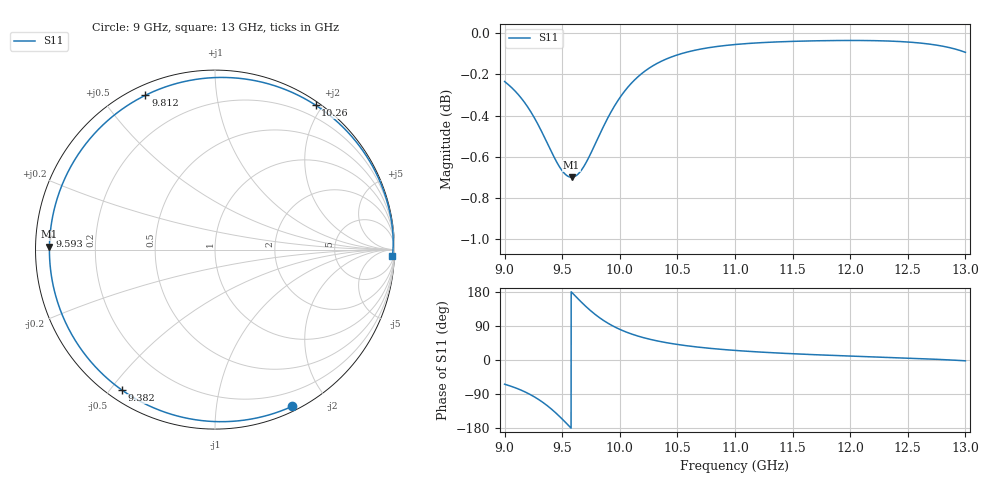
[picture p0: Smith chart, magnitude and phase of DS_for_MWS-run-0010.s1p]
! TOUCHSTONE file generated by CST DESIGN STUDIO
! Date and time: Tue Feb  4 16:23:00 2025
! Project name: C:\Work\MatlabApps\UnitCellOptimizationMatlab\CST\unitcell.cst
! Tree item: Tasks\Sweep1\SPara1\S-Parameters
! Header version: 2024
! Port assignment regex: !\s*Touchstone port\s*([0-9]+)\s*=\s*(CST MWS port|CST DES external port|CST DES block port)\s*(.+)\s* \(\"(.*)\"\)(\s*mode\s*([0-9]+))?.*
! Touchstone port assignment:
! Touchstone port 1 = CST DES external port 1 ("")
# GHz S MA R 50
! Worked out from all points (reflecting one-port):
!   4001 points, 9 GHz to 13 GHz, reference 50 ohm
!   lowest |S11| = -0.7 dB at 9.581 GHz (marker M1), VSWR 24.83, Z = 2.01 + j0.424 ohm
!   phase of S11 starts at -64 deg and turns -298 deg over the sweep
!   S11 on the Smith chart (normalised r, x): 9 GHz: 0.05, -1.60; 9.382 GHz: 0.04, -0.54; 9.593 GHz: 0.04, +0.04; 9.812 GHz: 0.04, +0.65; 10.26 GHz: 0.05, +1.92; 13 GHz: 13, -48
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9  0.9733 -63.8
9.048  0.9708 -68.5
9.116  0.9665 -76.1
9.233  0.9564 -92.9
9.312  0.9476 -107.6
9.382  0.9389 -123.4
9.44  0.9318 -138.5
9.5  0.9259 -155.8
9.541  0.9234 -168.4
9.581  0.9226 179.0
9.593  0.9226 175.2
9.647  0.9248 158.5
9.708  0.9303 140.6
9.759  0.9363 126.9
9.812  0.9432 114.3
9.853  0.9485 105.5
9.897  0.9539 97.1
10  0.9645 80.8
10.12  0.9737 66.7
10.255  0.9807 55.1
10.369  0.9847 47.7
10.5  0.988 41.0
10.72  0.9914 32.7
11  0.9937 25.3
11.5  0.9955 16.5
12  0.996 10.4
12.5  0.9951 4.9
13  0.9894 -2.2
